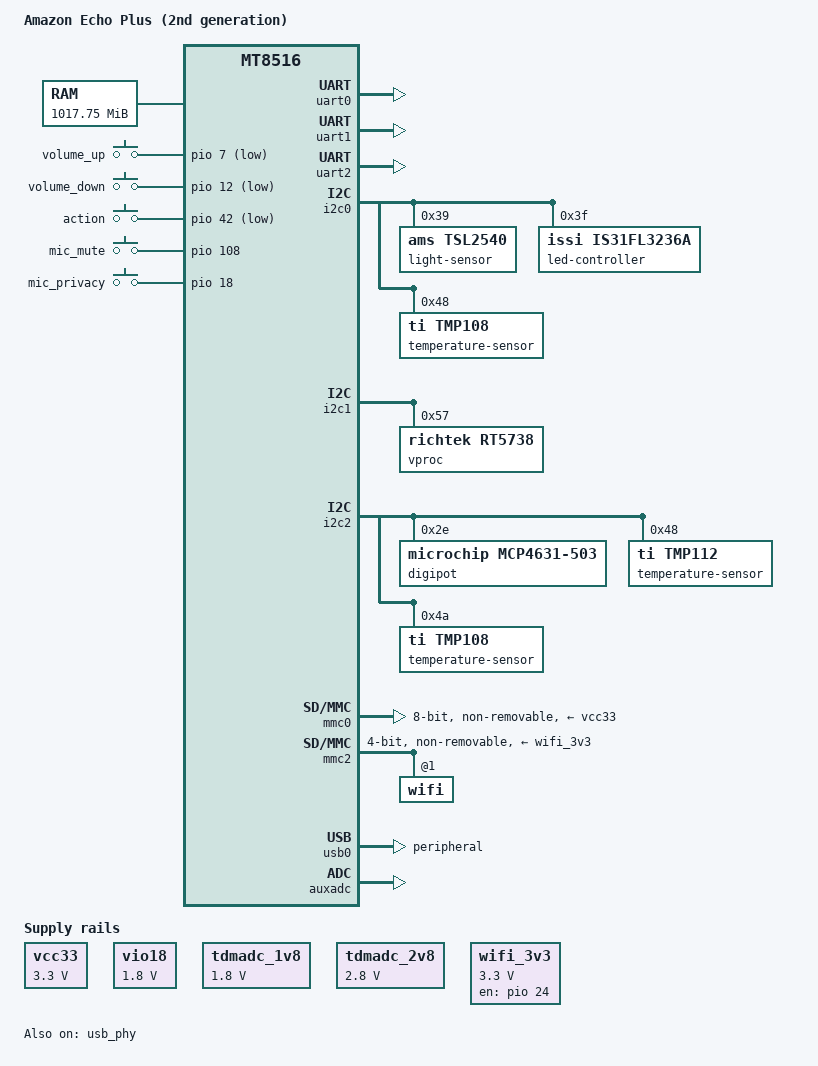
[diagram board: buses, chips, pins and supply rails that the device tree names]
// SPDX-License-Identifier: (GPL-2.0 OR MIT)
/*
 * Amazon Echo Plus (2nd generation), codename "lidar".
 *
 * Written for the mainline bindings. Pin assignments, bus addresses and the
 * rail topology are taken from the device tree Amazon published in the Echo
 * Plus 2nd Gen GPL source release (lidar.dtsi, lidar-pvt.dts) and from the
 * DTB shipped on retail PVT units.
 *
 * Power: there is no MT6392 PMIC on this board (stock pwrap is disabled).
 * Vproc comes from a Richtek RT5738 on i2c1; every other rail is fixed.
 */

/dts-v1/;

#include <dt-bindings/gpio/gpio.h>
#include <dt-bindings/input/input.h>
#include "mt8516.dtsi"

/ {
	model = "Amazon Echo Plus (2nd generation)";
	/*
	 * Amazon LK only hands a DTB to the kernel whose first compatible
	 * matches the board revision exactly; retail units are PVT.
	 */
	compatible = "amzn,lidar-pvt", "amzn,lidar", "mediatek,mt8516";
	chassis-type = "embedded";

	aliases {
		serial0 = &uart0;
		serial1 = &uart1;
		serial2 = &uart2;
		mmc0 = &mmc0;
		mmc1 = &mmc2;
	};

	chosen {
		stdout-path = "serial0:921600n8";
	};

	memory@40000000 {
		device_type = "memory";
		/* LK reports one 1 GiB rank; it reserves the top 6.25 MiB (TEE at 0x7f9c0000) */
		reg = <0 0x40000000 0 0x3f9c0000>;
	};

	/*
	 * Previous boot's console and oops log (pstore). U-Boot loads kernel,
	 * DTB and initramfs into 0x44000000-0x56000000, receives fastboot
	 * downloads at 0x60100000 and above, and relocates itself to the top of
	 * RAM, so this region survives a warm reboot untouched.
	 */
	reserved-memory {
		#address-cells = <2>;
		#size-cells = <2>;
		ranges;

		ramoops@60000000 {
			compatible = "ramoops";
			reg = <0 0x60000000 0 0x100000>;
			record-size = <0x20000>;
			console-size = <0x80000>;
			pmsg-size = <0x20000>;
		};
	};

	/*
	 * Amazon's BL31 does not give the kernel access to the PMU registers,
	 * so the armv8_pmu probe hangs.
	 */
	pmu {
		status = "disabled";
	};

	vcc33: regulator-vcc33 {
		compatible = "regulator-fixed";
		regulator-name = "vcc33";
		regulator-min-microvolt = <3300000>;
		regulator-max-microvolt = <3300000>;
		regulator-always-on;
		regulator-boot-on;
	};

	vio18: regulator-vio18 {
		compatible = "regulator-fixed";
		regulator-name = "vio18";
		regulator-min-microvolt = <1800000>;
		regulator-max-microvolt = <1800000>;
		regulator-always-on;
		regulator-boot-on;
	};

	tdmadc_1v8: regulator-tdmadc-1v8 {
		compatible = "regulator-fixed";
		regulator-name = "tdmadc_1v8";
		regulator-min-microvolt = <1800000>;
		regulator-max-microvolt = <1800000>;
		regulator-always-on;
		regulator-boot-on;
	};

	tdmadc_2v8: regulator-tdmadc-2v8 {
		compatible = "regulator-fixed";
		regulator-name = "tdmadc_2v8";
		regulator-min-microvolt = <2800000>;
		regulator-max-microvolt = <2800000>;
		regulator-always-on;
		regulator-boot-on;
	};

	/* MT7668 power: PMU_EN on GPIO24, needs 500 ms after enable (stock) */
	wifi_3v3: regulator-wifi-3v3 {
		compatible = "regulator-fixed";
		regulator-name = "wifi_3v3";
		regulator-min-microvolt = <3300000>;
		regulator-max-microvolt = <3300000>;
		gpio = <&pio 24 GPIO_ACTIVE_HIGH>;
		enable-active-high;
		startup-delay-us = <500000>;
		/* vendor driver holds PMU_EN low 5 ms when resetting the chip */
		off-on-delay-us = <5000>;
		pinctrl-names = "default";
		pinctrl-0 = <&wifi_pmu_en_pins>;
	};

	gpio-keys {
		compatible = "gpio-keys";
		pinctrl-names = "default";
		/*
		 * Downstream only, not suitable for upstream: board_hog_pins
		 * uses pinctrl output-high/output-low to set line levels and
		 * rides on this consumer, because output levels can only be
		 * applied once the pio gpio_chip exists, which is after the
		 * pin controller's own default state is set.
		 */
		pinctrl-0 = <&gpio_keys_pins>, <&board_hog_pins>;

		key-volume-up {
			label = "volume_up";
			gpios = <&pio 7 GPIO_ACTIVE_LOW>;
			linux,code = <KEY_VOLUMEUP>;
			debounce-interval = <50>;
			wakeup-source;
		};

		key-volume-down {
			label = "volume_down";
			gpios = <&pio 12 GPIO_ACTIVE_LOW>;
			linux,code = <KEY_VOLUMEDOWN>;
			debounce-interval = <50>;
			wakeup-source;
		};

		key-action {
			label = "action";
			gpios = <&pio 42 GPIO_ACTIVE_LOW>;
			/* as stock: KEY_HELP (0x8a) */
			linux,code = <KEY_HELP>;
			debounce-interval = <50>;
			wakeup-source;
		};

		/*
		 * The microphone mute button drives a hardware latch that cuts
		 * the microphones; software only observes it. GPIO108 is the
		 * button, GPIO18 the latched state (high = microphones off).
		 */
		key-mic-mute {
			label = "mic_mute";
			gpios = <&pio 108 GPIO_ACTIVE_HIGH>;
			linux,code = <KEY_MICMUTE>;
			debounce-interval = <50>;
			wakeup-source;
		};

		switch-mic-privacy {
			label = "mic_privacy";
			gpios = <&pio 18 GPIO_ACTIVE_HIGH>;
			linux,input-type = <EV_SW>;
			linux,code = <SW_MUTE_DEVICE>;
			debounce-interval = <50>;
		};
	};
};

&pio {
	/*
	 * Board-level line defaults. They are applied through the gpio-keys
	 * and LED controller pinctrl states and the lines stay unclaimed, so
	 * userspace can drive them (e.g. EFR32_SWCLK, the EFR32 bootloader
	 * trigger: low keeps the radio in its bootloader after a reset).
	 */

	gpio-line-names =
		/*  0 */ "", "EFR32_SWCLK", "MIC_ADC_EN", "", "LED_SDB",
		/*  5 */ "", "", "KEY_VOL_UP", "", "VPROC_VSEL",
		/* 10 */ "DAC_RESET", "", "KEY_VOL_DOWN", "EFR32_RESET_N", "",
		/* 15 */ "", "", "", "MIC_PRIVACY_STATE", "",
		/* 20 */ "", "", "", "EFR32_PTI_FRAME", "WIFI_PMU_EN";

	/* Downstream only: fixed line levels set through pinctrl, see gpio-keys. */
	board_hog_pins: board-hog-pins {
		pins-efr32-run {
			/* EFR32 out of reset, SWD clock idle low (stock rfkill defaults) */
			pinmux = <MT8516_PIN_13_EINT13__FUNC_GPIO13>;
			output-high;
		};

		pins-efr32-swclk {
			pinmux = <MT8516_PIN_1_EINT1__FUNC_GPIO1>;
			output-low;
		};

		pins-privacy-enable {
			/*
			 * GPIO107 (active low) lets software force privacy
			 * mode on; keep it released.
			 */
			pinmux = <MT8516_PIN_107_MSDC1_DAT1__FUNC_GPIO107>;
			output-high;
		};
	};

	led_sdb_pins: led-sdb-pins {
		pins-led-sdb {
			/* IS31FL3236 SDB: low = hardware shutdown */
			pinmux = <MT8516_PIN_4_EINT4__FUNC_GPIO4>;
			output-high;
		};
	};

	gpio_keys_pins: gpio-keys-pins {
		pins-keys {
			pinmux = <MT8516_PIN_7_EINT7__FUNC_GPIO7>,
				 <MT8516_PIN_12_EINT12__FUNC_GPIO12>,
				 <MT8516_PIN_42_KPCOL0__FUNC_GPIO42>;
			bias-pull-up;
			input-enable;
		};

		pins-privacy {
			pinmux = <MT8516_PIN_18_EINT18__FUNC_GPIO18>,
				 <MT8516_PIN_108_MSDC1_DAT2__FUNC_GPIO108>;
			bias-disable;
			input-enable;
		};
	};

	i2c0_pins: i2c0-pins {
		pins-bus {
			pinmux = <MT8516_PIN_58_SDA0__FUNC_SDA0_0>,
				 <MT8516_PIN_59_SCL0__FUNC_SCL0_0>;
			bias-disable;
		};
	};

	i2c1_pins: i2c1-pins {
		pins-bus {
			pinmux = <MT8516_PIN_52_SDA1__FUNC_SDA1_0>,
				 <MT8516_PIN_53_SCL1__FUNC_SCL1_0>;
			bias-disable;
		};
	};

	i2c2_pins: i2c2-pins {
		pins-bus {
			pinmux = <MT8516_PIN_60_SDA2__FUNC_SDA2_0>,
				 <MT8516_PIN_61_SCL2__FUNC_SCL2_0>;
			bias-disable;
		};
	};

	mmc0_pins_default: mmc0-default-pins {
		pins-cmd-dat {
			pinmux = <MT8516_PIN_120_MSDC0_DAT0__FUNC_MSDC0_DAT0>,
				 <MT8516_PIN_119_MSDC0_DAT1__FUNC_MSDC0_DAT1>,
				 <MT8516_PIN_118_MSDC0_DAT2__FUNC_MSDC0_DAT2>,
				 <MT8516_PIN_117_MSDC0_DAT3__FUNC_MSDC0_DAT3>,
				 <MT8516_PIN_113_MSDC0_DAT4__FUNC_MSDC0_DAT4>,
				 <MT8516_PIN_112_MSDC0_DAT5__FUNC_MSDC0_DAT5>,
				 <MT8516_PIN_111_MSDC0_DAT6__FUNC_MSDC0_DAT6>,
				 <MT8516_PIN_110_MSDC0_DAT7__FUNC_MSDC0_DAT7>,
				 <MT8516_PIN_115_MSDC0_CMD__FUNC_MSDC0_CMD>;
			input-enable;
			bias-pull-up;
		};

		pins-clk {
			pinmux = <MT8516_PIN_116_MSDC0_CLK__FUNC_MSDC0_CLK>;
			bias-pull-down;
		};

		pins-rst {
			pinmux = <MT8516_PIN_114_MSDC0_RSTB__FUNC_MSDC0_RSTB>;
			bias-pull-up;
		};
	};

	mmc0_pins_uhs: mmc0-uhs-pins {
		pins-cmd-dat {
			pinmux = <MT8516_PIN_120_MSDC0_DAT0__FUNC_MSDC0_DAT0>,
				 <MT8516_PIN_119_MSDC0_DAT1__FUNC_MSDC0_DAT1>,
				 <MT8516_PIN_118_MSDC0_DAT2__FUNC_MSDC0_DAT2>,
				 <MT8516_PIN_117_MSDC0_DAT3__FUNC_MSDC0_DAT3>,
				 <MT8516_PIN_113_MSDC0_DAT4__FUNC_MSDC0_DAT4>,
				 <MT8516_PIN_112_MSDC0_DAT5__FUNC_MSDC0_DAT5>,
				 <MT8516_PIN_111_MSDC0_DAT6__FUNC_MSDC0_DAT6>,
				 <MT8516_PIN_110_MSDC0_DAT7__FUNC_MSDC0_DAT7>,
				 <MT8516_PIN_115_MSDC0_CMD__FUNC_MSDC0_CMD>;
			input-enable;
			drive-strength = <6>;
			bias-pull-up = <MTK_PUPD_SET_R1R0_01>;
		};

		pins-clk {
			pinmux = <MT8516_PIN_116_MSDC0_CLK__FUNC_MSDC0_CLK>;
			drive-strength = <8>;
			bias-pull-down = <MTK_PUPD_SET_R1R0_10>;
		};

		pins-rst {
			pinmux = <MT8516_PIN_114_MSDC0_RSTB__FUNC_MSDC0_RSTB>;
			bias-pull-up;
		};
	};

	mmc2_pins_default: mmc2-default-pins {
		pins-cmd-dat {
			pinmux = <MT8516_PIN_70_MSDC2_DAT0__FUNC_MSDC2_DAT0>,
				 <MT8516_PIN_71_MSDC2_DAT1__FUNC_MSDC2_DAT1>,
				 <MT8516_PIN_72_MSDC2_DAT2__FUNC_MSDC2_DAT2>,
				 <MT8516_PIN_73_MSDC2_DAT3__FUNC_MSDC2_DAT3>,
				 <MT8516_PIN_68_MSDC2_CMD__FUNC_MSDC2_CMD>;
			input-enable;
			drive-strength = <8>;
			bias-pull-up = <MTK_PUPD_SET_R1R0_10>;
		};

		pins-clk {
			pinmux = <MT8516_PIN_69_MSDC2_CLK__FUNC_MSDC2_CLK>;
			drive-strength = <8>;
			bias-pull-down = <MTK_PUPD_SET_R1R0_10>;
		};
	};

	uart0_pins: uart0-pins {
		pins-rx {
			pinmux = <MT8516_PIN_62_URXD0__FUNC_URXD0>;
			bias-pull-up;
		};

		pins-tx {
			pinmux = <MT8516_PIN_63_UTXD0__FUNC_UTXD0>;
		};
	};

	uart1_pins: uart1-pins {
		pins-rx {
			pinmux = <MT8516_PIN_64_URXD1__FUNC_URXD1>;
			bias-pull-up;
		};

		pins-tx {
			pinmux = <MT8516_PIN_65_UTXD1__FUNC_UTXD1>;
		};
	};

	uart2_pins: uart2-pins {
		pins-rx {
			pinmux = <MT8516_PIN_34_URXD2__FUNC_URXD2>;
			bias-pull-up;
		};

		pins-tx {
			pinmux = <MT8516_PIN_35_UTXD2__FUNC_UTXD2>;
		};

		pins-flow {
			pinmux = <MT8516_PIN_5_EINT5__FUNC_UCTS2>,
				 <MT8516_PIN_6_EINT6__FUNC_URTS2>;
		};
	};

	wifi_pmu_en_pins: wifi-pmu-en-pins {
		pins-pmu-en {
			pinmux = <MT8516_PIN_24_EINT24__FUNC_GPIO24>;
			bias-disable;
		};
	};
};

/* No MT6392 PMIC behind the wrapper on this board, as on stock */
&pwrap {
	status = "disabled";
};

/* Debug console, TM58 test pad, 921600 8N1 at 1.8 V */
&uart0 {
	pinctrl-names = "default";
	pinctrl-0 = <&uart0_pins>;
	status = "okay";
};

/* Silicon Labs EFR32 radio: packet trace (PTI) output, as stock's zigbee_pti */
&uart1 {
	pinctrl-names = "default";
	pinctrl-0 = <&uart1_pins>;
	status = "okay";
};

/*
 * Silicon Labs EFR32 radio: host interface for its Gecko bootloader and the
 * NCP/RCP application. RTS/CTS are wired; Fire OS runs the EmberZNet NCP
 * without flow control at 115200.
 */
&uart2 {
	pinctrl-names = "default";
	pinctrl-0 = <&uart2_pins>;
	uart-has-rtscts;
	status = "okay";
};

&i2c0 {
	pinctrl-names = "default";
	pinctrl-0 = <&i2c0_pins>;
	status = "okay";

	/* Behind the top cover; the vendor DT does not wire up its interrupt */
	light-sensor@39 {
		compatible = "ams,tsl2540";
		reg = <0x39>;
	};

	led-controller@3f {
		/* The A variant: it has the PWM frequency register (0x4b). */
		compatible = "issi,is31fl3236a";
		pinctrl-names = "default";
		pinctrl-0 = <&led_sdb_pins>;
		reg = <0x3f>;
		/* As on stock: the default 3 kHz PWM is audible through the speaker. */
		issi,22khz-pwm;
		#address-cells = <1>;
		#size-cells = <0>;

		/*
		 * 12 RGB LEDs on the light ring. Confirmed on hardware: LED n uses
		 * channels 3n-2 (red), 3n-1 (green), 3n (blue).
		 */
		led@1 { reg = <1>; label = "ring1:red"; };
		led@2 { reg = <2>; label = "ring1:green"; };
		led@3 { reg = <3>; label = "ring1:blue"; };
		led@4 { reg = <4>; label = "ring2:red"; };
		led@5 { reg = <5>; label = "ring2:green"; };
		led@6 { reg = <6>; label = "ring2:blue"; };
		led@7 { reg = <7>; label = "ring3:red"; };
		led@8 { reg = <8>; label = "ring3:green"; };
		led@9 { reg = <9>; label = "ring3:blue"; };
		led@a { reg = <10>; label = "ring4:red"; };
		led@b { reg = <11>; label = "ring4:green"; };
		led@c { reg = <12>; label = "ring4:blue"; };
		led@d { reg = <13>; label = "ring5:red"; };
		led@e { reg = <14>; label = "ring5:green"; };
		led@f { reg = <15>; label = "ring5:blue"; };
		led@10 { reg = <16>; label = "ring6:red"; };
		led@11 { reg = <17>; label = "ring6:green"; };
		led@12 { reg = <18>; label = "ring6:blue"; };
		led@13 { reg = <19>; label = "ring7:red"; };
		led@14 { reg = <20>; label = "ring7:green"; };
		led@15 { reg = <21>; label = "ring7:blue"; };
		led@16 { reg = <22>; label = "ring8:red"; };
		led@17 { reg = <23>; label = "ring8:green"; };
		led@18 { reg = <24>; label = "ring8:blue"; };
		led@19 { reg = <25>; label = "ring9:red"; };
		led@1a { reg = <26>; label = "ring9:green"; };
		led@1b { reg = <27>; label = "ring9:blue"; };
		led@1c { reg = <28>; label = "ring10:red"; };
		led@1d { reg = <29>; label = "ring10:green"; };
		led@1e { reg = <30>; label = "ring10:blue"; };
		led@1f { reg = <31>; label = "ring11:red"; };
		led@20 { reg = <32>; label = "ring11:green"; };
		led@21 { reg = <33>; label = "ring11:blue"; };
		led@22 { reg = <34>; label = "ring12:red"; };
		led@23 { reg = <35>; label = "ring12:green"; };
		led@24 { reg = <36>; label = "ring12:blue"; };
	};

	temperature-sensor@48 {
		compatible = "ti,tmp108";
		reg = <0x48>;
		#thermal-sensor-cells = <0>;
	};
};

&i2c1 {
	pinctrl-names = "default";
	pinctrl-0 = <&i2c1_pins>;
	status = "okay";

	/*
	 * Vproc buck. Measured on a PVT unit: ID1/ID2 read 0 (RT5739-class
	 * 300-1300 mV, 5 mV steps), both banks hold 0xaa (1.150 V), and VSEL
	 * (GPIO9) is an input pulled high, so the active bank is NSEL1 (the
	 * stock driver also does DVFS on NSEL1). GPIO9 is left untouched.
	 */
	vproc: regulator@57 {
		compatible = "richtek,rt5738";
		reg = <0x57>;
		regulator-name = "vproc";
		regulator-min-microvolt = <1150000>;
		regulator-max-microvolt = <1300000>;
		regulator-always-on;
		regulator-boot-on;
		richtek,vsel-active-high;
	};
};

&i2c2 {
	pinctrl-names = "default";
	pinctrl-0 = <&i2c2_pins>;
	status = "okay";

	digipot@2e {
		compatible = "microchip,mcp4631-503";
		reg = <0x2e>;
	};

	temperature-sensor@48 {
		compatible = "ti,tmp112";
		reg = <0x48>;
		#thermal-sensor-cells = <0>;
	};

	temperature-sensor@4a {
		compatible = "ti,tmp108";
		reg = <0x4a>;
		#thermal-sensor-cells = <0>;
	};
};

/* eMMC */
&mmc0 {
	pinctrl-names = "default", "state_uhs";
	pinctrl-0 = <&mmc0_pins_default>;
	pinctrl-1 = <&mmc0_pins_uhs>;
	bus-width = <8>;
	max-frequency = <200000000>;
	cap-mmc-highspeed;
	mmc-hs200-1_8v;
	cap-mmc-hw-reset;
	vmmc-supply = <&vcc33>;
	vqmmc-supply = <&vio18>;
	non-removable;
	status = "okay";
};

/* MediaTek MT7668 Wi-Fi/Bluetooth combo, SDIO 3.0 */
&mmc2 {
	pinctrl-names = "default", "state_uhs";
	pinctrl-0 = <&mmc2_pins_default>;
	pinctrl-1 = <&mmc2_pins_default>;
	bus-width = <4>;
	max-frequency = <200000000>;
	cap-sd-highspeed;
	sd-uhs-sdr50;
	sd-uhs-sdr104;
	cap-sdio-irq;
	keep-power-in-suspend;
	wakeup-source;
	non-removable;
	vmmc-supply = <&wifi_3v3>;
	/* MSDC2 pads are fixed 1.8 V; stock describes no vqmmc */
	no-sd;
	no-mmc;
	#address-cells = <1>;
	#size-cells = <0>;
	status = "okay";

	/* SDIO function 1 = WLAN (037a:7608), function 2 = Bluetooth (btmtksdio) */
	wifi: wifi@1 {
		reg = <1>;
	};
};

&usb0 {
	dr_mode = "peripheral";
	status = "okay";
};

/*
 * The PSCI CPU and cluster idle states need the MediaTek SPM firmware, which
 * the stock kernel loads and Amazon's BL31 relies on for wake-up. Mainline
 * does not load it, so a CPU entering those states never returns. The stock
 * kernel itself only uses WFI while several CPUs are online.
 */
&cpu0 {
	/delete-property/ cpu-idle-states;
	proc-supply = <&vproc>;
};

&cpu1 {
	/delete-property/ cpu-idle-states;
	proc-supply = <&vproc>;
};

&cpu2 {
	/delete-property/ cpu-idle-states;
	proc-supply = <&vproc>;
};

&cpu3 {
	/delete-property/ cpu-idle-states;
	proc-supply = <&vproc>;
};

&usb_phy {
	status = "okay";
};

&auxadc {
	status = "okay";
};

#include "mt8516-amazon-lidar-audio.dtsi"
